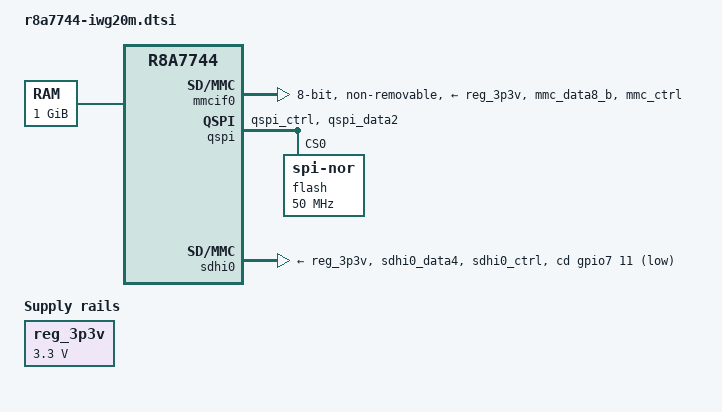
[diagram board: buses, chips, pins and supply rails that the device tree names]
// SPDX-License-Identifier: GPL-2.0
/*
 * Device Tree Source for the iWave RZ/G1N Qseven SOM
 *
 * Copyright (C) 2018 Renesas Electronics Corp.
 */

#include "r8a7744.dtsi"
#include <dt-bindings/gpio/gpio.h>

/ {
	compatible = "iwave,g20m", "renesas,r8a7744";

	memory@40000000 {
		device_type = "memory";
		reg = <0 0x40000000 0 0x40000000>;
	};

	reg_3p3v: 3p3v {
		compatible = "regulator-fixed";
		regulator-name = "3P3V";
		regulator-min-microvolt = <3300000>;
		regulator-max-microvolt = <3300000>;
		regulator-always-on;
		regulator-boot-on;
	};
};

&extal_clk {
	clock-frequency = <20000000>;
};

&pfc {
	mmcif0_pins: mmc {
		groups = "mmc_data8_b", "mmc_ctrl";
		function = "mmc";
	};

	qspi_pins: qspi {
		groups = "qspi_ctrl", "qspi_data2";
		function = "qspi";
	};

	sdhi0_pins: sd0 {
		groups = "sdhi0_data4", "sdhi0_ctrl";
		function = "sdhi0";
		power-source = <3300>;
	};
};

&mmcif0 {
	pinctrl-0 = <&mmcif0_pins>;
	pinctrl-names = "default";

	vmmc-supply = <&reg_3p3v>;
	bus-width = <8>;
	non-removable;
	status = "okay";
};

&qspi {
	pinctrl-0 = <&qspi_pins>;
	pinctrl-names = "default";

	status = "okay";

	/* WARNING - This device contains the bootloader. Handle with care. */
	flash: flash@0 {
		#address-cells = <1>;
		#size-cells = <1>;
		compatible = "jedec,spi-nor";
		reg = <0>;
		spi-max-frequency = <50000000>;
		spi-tx-bus-width = <2>;
		spi-rx-bus-width = <2>;
		m25p,fast-read;
		spi-cpol;
		spi-cpha;
	};
};

&sdhi0 {
	pinctrl-0 = <&sdhi0_pins>;
	pinctrl-names = "default";

	vmmc-supply = <&reg_3p3v>;
	vqmmc-supply = <&reg_3p3v>;
	cd-gpios = <&gpio7 11 GPIO_ACTIVE_LOW>;
	status = "okay";
};
